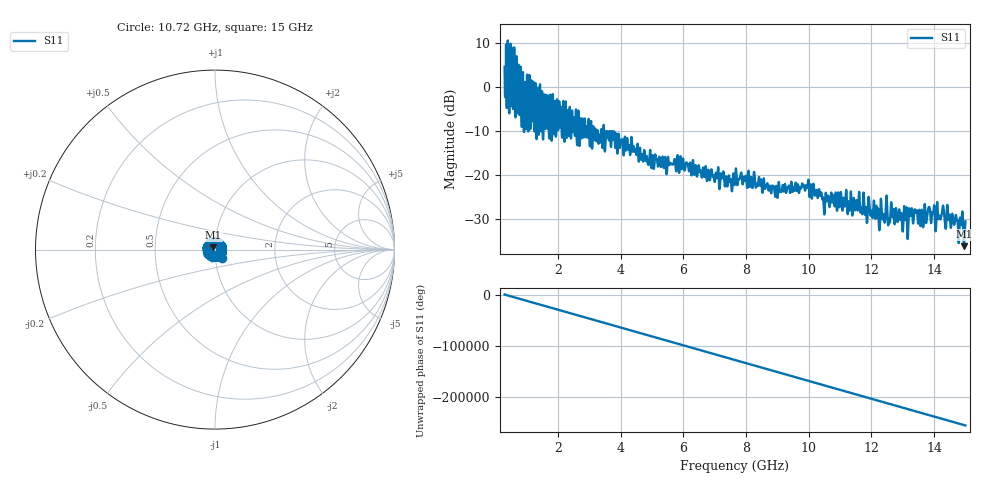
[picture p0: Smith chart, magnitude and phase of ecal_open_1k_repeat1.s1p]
# GHZ S RI R 50.0
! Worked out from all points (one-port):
!   12801 points, 300 MHz to 15 GHz, reference 50 ohm
!   lowest |S11| = -36.3 dB at 14.95 GHz (marker M1), VSWR 1.03, Z = 49.1 + j1.19 ohm
!   |S11| at or under -10 dB: 3.262 GHz to 3.38 GHz (117.4 MHz wide, 3.54 % of centre); 3.392 GHz to 3.452 GHz (60.74 MHz wide, 1.77 % of centre); 3.47 GHz to end of sweep (the widest 3 of 31)
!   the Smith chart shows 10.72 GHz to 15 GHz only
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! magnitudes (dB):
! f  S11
! 300 MHz  4.6
! 387.3 MHz  -0.3
! 510.2 MHz  -4.0
! 545.8 MHz  8.2
! 581.4 MHz  -4.6
! 707.7 MHz  -4.5
! 747.9 MHz  3.2
! 911 MHz  -9.8
! 1.153 GHz  1.5
! 1.322 GHz  -11.9
! 1.626 GHz  -2.4
! 1.745 GHz  -8.3
! 2.034 GHz  -4.7
! 2.138 GHz  -11.5
! 3.975 GHz  -13.9
! 4.848 GHz  -16.7
! 5.812 GHz  -15.9
! 7.372 GHz  -20.5
! 7.65 GHz  -21.6
! 8.958 GHz  -23.0
! 9.488 GHz  -23.9
! 9.933 GHz  -22.5
! 10.46 GHz  -25.2
! 11.32 GHz  -26.7
! 13.16 GHz  -34.5
! 14.27 GHz  -27.9
! 14.95 GHz  -36.3
! 15 GHz  -30.6
